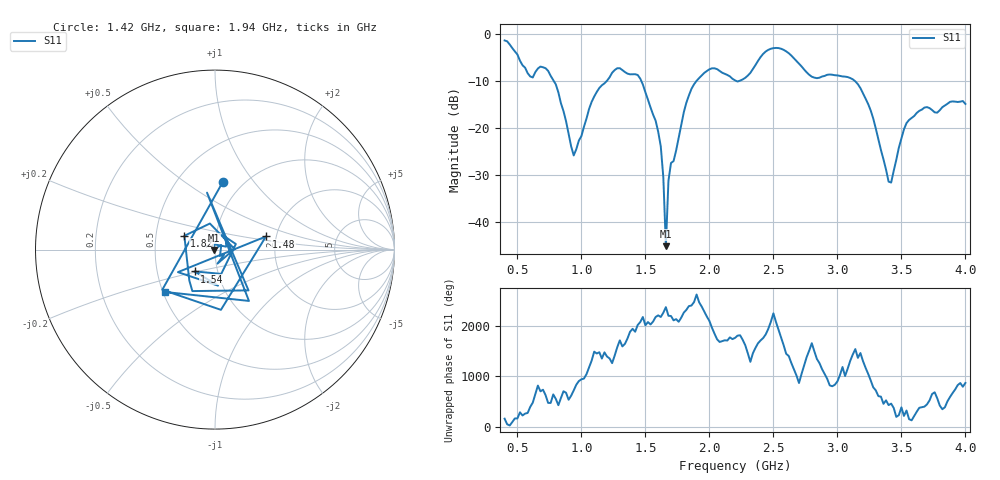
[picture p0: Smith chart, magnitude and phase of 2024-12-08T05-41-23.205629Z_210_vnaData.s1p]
!Created with skrf (http://scikit-rf.org).
# Hz S RI R 50.0
!freq ReS11 ImS11
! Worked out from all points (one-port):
!   181 points, 400 MHz to 4 GHz, reference 50 ohm
!   lowest |S11| = -45.1 dB at 1.66 GHz (marker M1), VSWR 1.01, Z = 49.5 - j0.268 ohm
!   |S11| at or under -10 dB: 785.7 MHz to 1.196 GHz (409.8 MHz wide, 41.4 % of centre); 1.469 GHz to 1.897 GHz (427.8 MHz wide, 25.4 % of centre); 3.14 GHz to end of sweep (the widest 3 of 4)
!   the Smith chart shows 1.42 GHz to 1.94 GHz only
!   S11 on the Smith chart (normalised r, x): 1.42 GHz: 0.81, +0.71; 1.48 GHz: 1.76, +0.28; 1.54 GHz: 0.77, -0.19; 1.82 GHz: 0.70, +0.11; 1.94 GHz: 0.51, -0.28
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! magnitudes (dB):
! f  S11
! 400 MHz  -1.3
! 600 MHz  -9.0
! 740 MHz  -7.8
! 860 MHz  -16.3
! 940 MHz  -25.8
! 1.1 GHz  -13.2
! 1.3 GHz  -7.2
! 1.42 GHz  -8.5
! 1.48 GHz  -10.7
! 1.54 GHz  -15.6
! 1.62 GHz  -23.8
! 1.64 GHz  -30.5
! 1.66 GHz  -45.1
! 1.68 GHz  -31.2
! 1.76 GHz  -22.0
! 1.82 GHz  -14.5
! 1.94 GHz  -8.7
! 2.04 GHz  -7.2
! 2.2 GHz  -9.8
! 2.48 GHz  -3.1
! 2.66 GHz  -5.1
! 2.82 GHz  -9.2
! 3.1 GHz  -9.3
! 3.26 GHz  -16.2
! 3.4 GHz  -31.4
! 3.42 GHz  -31.6
! 3.56 GHz  -18.2
! 4 GHz  -14.8
